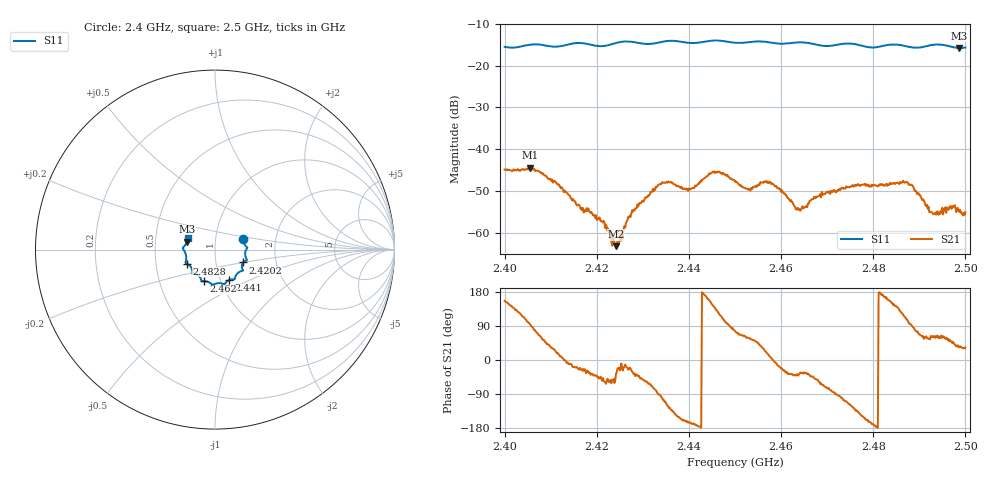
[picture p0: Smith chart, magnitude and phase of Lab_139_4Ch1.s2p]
# Hz S RI R 50
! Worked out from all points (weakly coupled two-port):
!   601 points, 2.4 GHz to 2.5 GHz, reference 50 ohm
!   highest |S21| = -44.46 dB at 2.4055 GHz (marker M1); lowest = -63.2 dB at 2.4242 GHz (marker M2)
!   lowest |S11| = -15.8 dB at 2.4987 GHz (marker M3), VSWR 1.39, Z = 36.3 + j3.26 ohm
!   |S11| at or under -10 dB: start of sweep to end of sweep
!   S12 and S22 are empty: the file has one direction only
!   S11 on the Smith chart (normalised r, x): 2.4 GHz: 1.36, +0.17; 2.4202 GHz: 1.35, -0.20; 2.441 GHz: 1.10, -0.39; 2.462 GHz: 0.83, -0.30; 2.4828 GHz: 0.72, -0.12; 2.5 GHz: 0.73, +0.09
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2.4e9  0.1569 0.061  -0.00521 0.00233  0 0  0 0
2.4055e9  0.178 0.0138  -0.000423 0.00597  0 0  0 0
2.411333e9  0.1678 -0.0223  0.00366 0.00121  0 0  0 0
2.416667e9  0.1774 -0.0592  0.00178 -0.000855  0 0  0 0
2.420167e9  0.1568 -0.0719  0.00103 -0.00104  0 0  0 0
2.424167e9  0.1525 -0.1085  0.000552 -0.000412  0 0  0 0
2.428e9  0.1512 -0.1184  0.0015 -0.00111  0 0  0 0
2.433333e9  0.1128 -0.1522  6.24e-05 -0.00374  0 0  0 0
2.441e9  0.077 -0.1705  -0.00336 -0.000736  0 0  0 0
2.4455e9  0.0524 -0.1937  -0.00411 0.00352  0 0  0 0
2.45e9  0.0272 -0.1867  0.00096 0.00397  0 0  0 0
2.452833e9  0.000568 -0.191  0.0017 0.00279  0 0  0 0
2.457833e9  -0.0242 -0.1876  0.00383 0.000325  0 0  0 0
2.462e9  -0.0614 -0.1759  0.00188 -0.00145  0 0  0 0
2.463833e9  -0.0724 -0.1763  0.00147 -0.00118  0 0  0 0
2.466667e9  -0.0773 -0.1673  0.00185 -0.00171  0 0  0 0
2.482833e9  -0.1581 -0.0776  -0.00373 0.000956  0 0  0 0
2.483333e9  -0.161 -0.0763  -0.00348 0.0014  0 0  0 0
2.487833e9  -0.1604 -0.0506  -0.000358 0.00378  0 0  0 0
2.492667e9  -0.177 0.00193  0.000857 0.00155  0 0  0 0
2.498667e9  -0.1568 0.0437  0.00148 0.000988  0 0  0 0
2.5e9  -0.1532 0.0622  0.0015 0.000931  0 0  0 0
